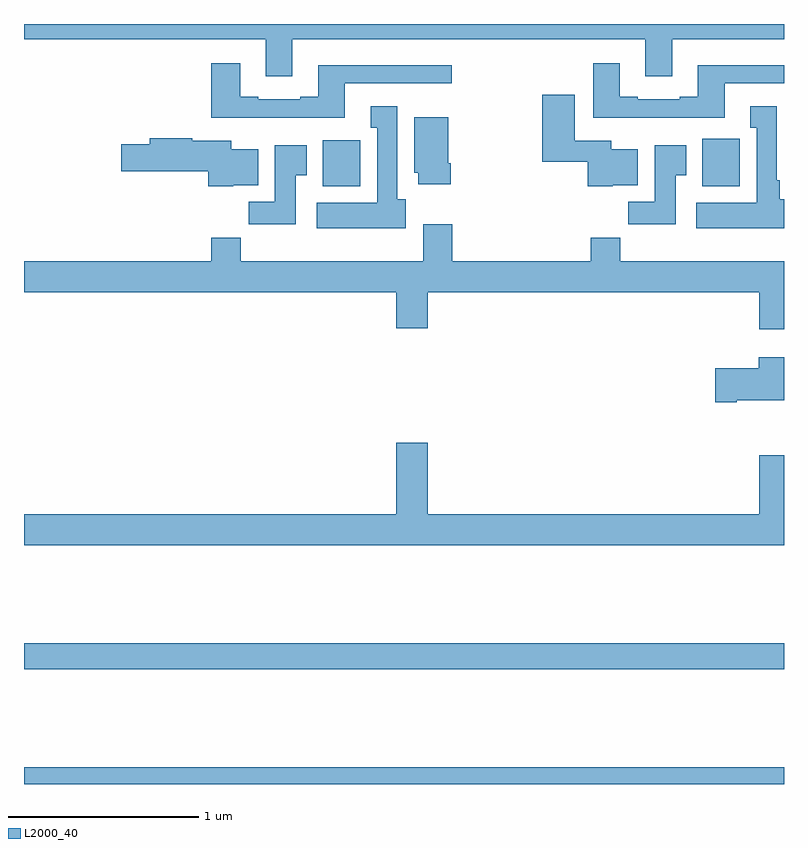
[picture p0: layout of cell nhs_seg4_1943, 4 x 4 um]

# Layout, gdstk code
import gdstk
lib = gdstk.Library(unit=1e-6, precision=1e-09)
def R(c, l, rs):  # rectangles x0, y0, x1, y1
    for r in rs: c.add(gdstk.rectangle(r[:2], r[2:], *l))
def P(c, l, *ps):  # polygons
    for p in ps: c.add(gdstk.Polygon(p, *l))
L2000_40 = (2000, 40)

nhs_seg4_1943 = lib.new_cell('nhs_seg4_1943')
R(nhs_seg4_1943, L2000_40, [(211,792.9,215,792.988), (211,793.504,215,793.64), (212.573,796.046,212.77,796.288), (214.571,796.046,214.767,796.297)])
P(nhs_seg4_1943, L2000_40, [(212.413,796.82),(214.271,796.82),(214.271,796.626),(214.411,796.626),(214.411,796.82),(215,796.82),(215,796.9),(211,796.9),(211,796.82),(212.273,796.82),(212.273,796.626),(212.413,796.626)],
  [(214.687,796.587),(215,796.587),(215,796.684),(214.547,796.684),(214.547,796.516),(214.451,796.516),(214.451,796.503),(214.231,796.503),(214.231,796.516),(214.135,796.516),(214.135,796.693),(213.995,796.693),(213.995,796.406),(214.687,796.406)],
  [(212.689,796.587),(213.25,796.587),(213.25,796.684),(212.549,796.684),(212.549,796.516),(212.453,796.516),(212.453,796.503),(212.233,796.503),(212.233,796.516),(212.137,796.516),(212.137,796.693),(211.985,796.693),(211.985,796.406),(212.689,796.406)],
  [(214.098,796.052),(214.231,796.052),(214.231,796.24),(214.09,796.24),(214.09,796.285),(213.898,796.285),(213.898,796.528),(213.728,796.528),(213.728,796.175),(213.968,796.175),(213.968,796.046),(214.098,796.046)],
  [(213.01,795.978),(212.965,795.978),(212.965,796.468),(212.825,796.468),(212.825,796.355),(212.858,796.355),(212.858,795.958),(212.541,795.958),(212.541,795.824),(213.01,795.824)],
  [(215,795.978),(214.978,795.978),(214.978,796.078),(214.963,796.078),(214.963,796.468),(214.823,796.468),(214.823,796.355),(214.856,796.355),(214.856,795.958),(214.539,795.958),(214.539,795.824),(215,795.824)],
  [(213.245,796.168),(213.232,796.168),(213.232,796.408),(213.053,796.408),(213.053,796.116),(213.074,796.116),(213.074,796.056),(213.245,796.056)],
  [(212.1,796.052),(212.233,796.052),(212.233,796.24),(212.092,796.24),(212.092,796.285),(211.886,796.285),(211.886,796.298),(211.661,796.298),(211.661,796.268),(211.512,796.268),(211.512,796.126),(211.97,796.126),(211.97,796.046),(212.1,796.046)],
  [(212.431,796.105),(212.488,796.105),(212.488,796.261),(212.321,796.261),(212.321,795.964),(212.182,795.964),(212.182,795.846),(212.431,795.846)],
  [(214.429,796.105),(214.486,796.105),(214.486,796.261),(214.319,796.261),(214.319,795.964),(214.18,795.964),(214.18,795.846),(214.429,795.846)],
  [(215,795.652),(214.139,795.652),(214.139,795.776),(213.983,795.776),(213.983,795.652),(213.254,795.652),(213.254,795.847),(213.101,795.847),(213.101,795.652),(212.141,795.652),(212.141,795.776),(211.985,795.776),(211.985,795.652),(211,795.652),(211,795.488),(212.96,795.488),(212.96,795.3),(213.124,795.3),(213.124,795.488),(214.871,795.488),(214.871,795.294),(215,795.294)],
  [(214.75,794.921),(215,794.921),(215,795.145),(214.868,795.145),(214.868,795.087),(214.638,795.087),(214.638,794.909),(214.75,794.909)],
  [(215,794.629),(214.871,794.629),(214.871,794.32),(213.124,794.32),(213.124,794.695),(212.96,794.695),(212.96,794.32),(211,794.32),(211,794.156),(215,794.156)])

lib.write_gds('nhs_seg4_1943.gds')
